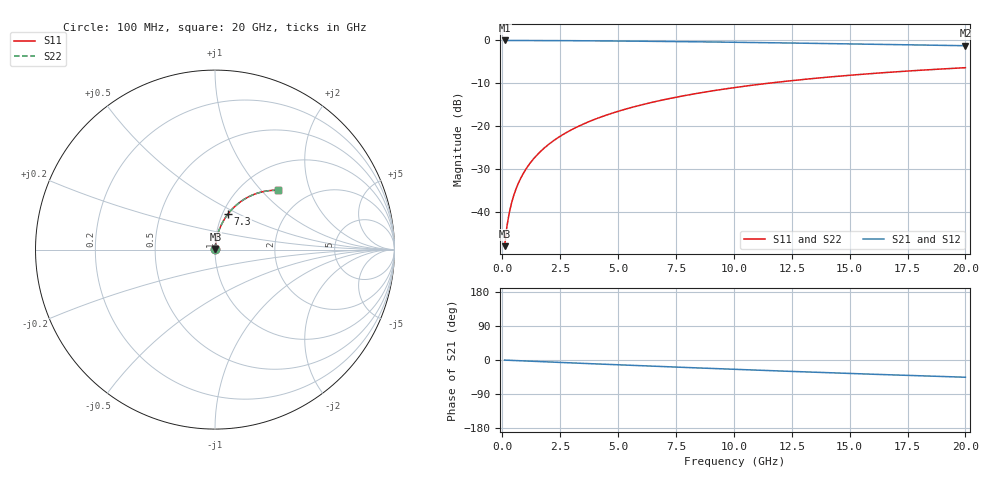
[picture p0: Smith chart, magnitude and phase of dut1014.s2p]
! Touchstone file exported from HFSS 2026.1.0
!  File:  C:/ffzhzh/LocalFiles/Ansys_Project_Files/temp_train_TMRDL_1014_1783159757_43440.aedt
!  Generated:  06:10:37 PM Jul  4, 2026
!  Design:  TMRDL
!  Project:  temp_train_TMRDL_1014_1783159757_43440
! Variables:
!  h_bsmrdl = 2um
!  h_ox = 20um
!  h_rdl = 5um
!  h_sub = 80um
!  h_tmrdl = 5.37um
!  h_tsv = 80um
!  h_via = 3um
!  l_bsmrdl = 300um
!  l_sub = 1020.78um
!  l_tmrdl = 620.78um
!  m_sub = 200um
!  pitch = 59.06um
!  r_tsv = 6um
!  s_tmrdl = 10um
!  w_bsmrdl = 18um
!  w_sub = 500um
!  w_tmrdl = 17.51um
!  x_tsv_center1 = 629.535um
!  x_tsv_center2 = 947.535um
!  x_tsv_center3 = 1585.825um
!  x_tsv_center4 = 1903.825um
!  x_tsv_center5 = 2542.115um
!  x_tsv_center6 = 2860.115um
# GHz S MA R 50.000000
! Terminal data exported
! Port[1] = TM_RDL1_1_T1
! Port[2] = TM_RDL1_1_T2
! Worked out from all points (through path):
!   200 points, 100 MHz to 20 GHz, reference 50 ohm
!   highest |S21| = -0.02 dB at 100 MHz (marker M1); lowest = -1.2 dB at 20 GHz (marker M2)
!   group delay of S21, straight-line fit = 6.32 ps
!   lowest |S11| = -47.8 dB at 100 MHz (marker M3), VSWR 1.01, Z = 50.2 + j0.324 ohm
!   |S11| at or under -10 dB: start of sweep to 11.44 GHz
!   |S22| runs from -47.8 to -6.4 dB; largest |S21 - S12| = 2.7e-15
!   S11 on the Smith chart (normalised r, x): 100 MHz: 1.00, +0.01; 7.3 GHz: 1.06, +0.44; 20 GHz: 1.45, +1.24
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0.1  0.004053 52.7  0.9976 -0.3  0.9976 -0.3  0.004053 52.7
! Gamma 0 0 0 0
! Port Impedance 50 0 50 0
0.2  0.006886 67.8  0.9974 -0.5  0.9974 -0.5  0.006886 67.8
0.3  0.009868 73.7  0.9973 -0.8  0.9973 -0.8  0.009868 73.7
0.4  0.01289 76.9  0.9972 -1.0  0.9972 -1.0  0.01289 76.9
0.5  0.01592 78.7  0.9971 -1.3  0.9971 -1.3  0.01592 78.7
0.7  0.02203 80.8  0.9969 -1.8  0.9969 -1.8  0.02203 80.8
0.8  0.02509 81.3  0.9968 -2.1  0.9968 -2.1  0.02509 81.3
1  0.03122 81.9  0.9965 -2.6  0.9965 -2.6  0.03122 81.9
1.2  0.03736 82.2  0.9962 -3.1  0.9962 -3.1  0.03736 82.2
1.4  0.04348 82.2  0.9959 -3.6  0.9959 -3.6  0.04348 82.2
1.7  0.05263 81.9  0.9952 -4.4  0.9952 -4.4  0.05263 81.9
2  0.06174 81.5  0.9945 -5.2  0.9945 -5.2  0.06174 81.5
2.7  0.0828 80.2  0.9924 -6.9  0.9924 -6.9  0.0828 80.2
3.5  0.1065 78.5  0.9895 -8.9  0.9895 -8.9  0.1065 78.5
4.2  0.1268 76.9  0.9866 -10.7  0.9866 -10.7  0.1268 76.9
5  0.1497 75.1  0.9828 -12.7  0.9828 -12.7  0.1497 75.1
6.8  0.1995 70.9  0.9729 -17.0  0.9729 -17.0  0.1995 70.9
7.3  0.2129 69.8  0.9698 -18.2  0.9698 -18.2  0.2129 69.8
10.1  0.2843 63.5  0.9503 -24.8  0.9503 -24.8  0.2843 63.5
13.4  0.3598 56.4  0.9237 -32.1  0.9237 -32.1  0.3598 56.4
16.7  0.4254 49.7  0.8951 -39.0  0.8951 -39.0  0.4254 49.7
20  0.4811 43.3  0.8665 -45.5  0.8665 -45.5  0.4811 43.3
